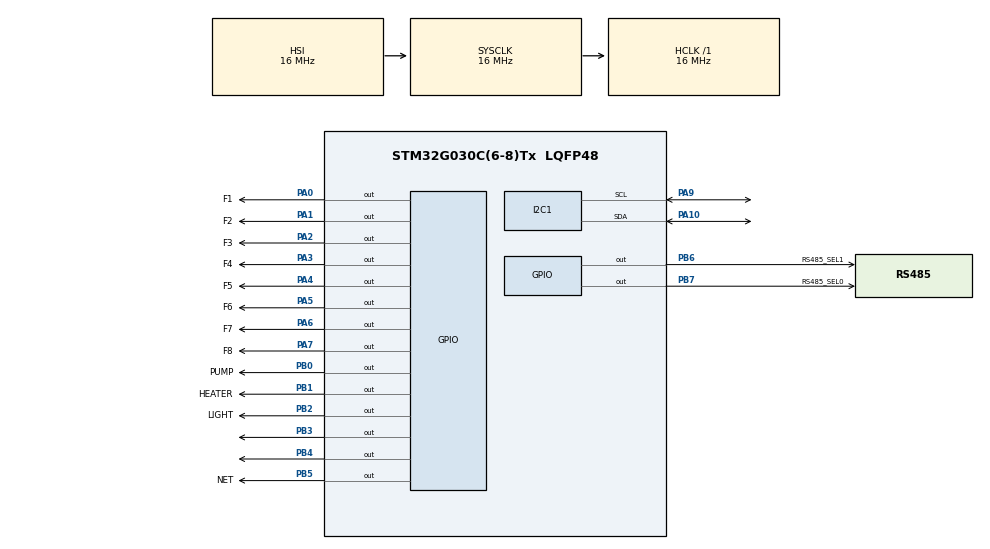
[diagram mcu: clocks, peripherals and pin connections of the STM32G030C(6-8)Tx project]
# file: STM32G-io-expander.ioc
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I2C1.OwnAddress=0x21
IWDG.Prescaler=IWDG_PRESCALER_8
IWDG.Reload=399
Mcu.Family=STM32G0
Mcu.Name=STM32G030C(6-8)Tx
Mcu.Package=LQFP48
NVIC.I2C1_IRQn=true\:0\:0\:false\:true\:true\:1\:true\:true\:true
PA0.GPIO_Label=F1
PA0.Signal=GPIO_Output
PA1.GPIO_Label=F2
PA1.Signal=GPIO_Output
PA10.Mode=I2C
PA10.Signal=I2C1_SDA
PA2.GPIO_Label=F3
PA2.Signal=GPIO_Output
PA3.GPIO_Label=F4
PA3.Signal=GPIO_Output
PA4.GPIO_Label=F5
PA4.Signal=GPIO_Output
PA5.GPIO_Label=F6
PA5.Signal=GPIO_Output
PA6.GPIO_Label=F7
PA6.Signal=GPIO_Output
PA7.GPIO_Label=F8
PA7.Signal=GPIO_Output
PA9.Mode=I2C
PA9.Signal=I2C1_SCL
PB0.GPIO_Label=PUMP
PB0.Signal=GPIO_Output
PB1.GPIO_Label=HEATER
PB1.Signal=GPIO_Output
PB2.GPIO_Label=LIGHT
PB2.Signal=GPIO_Output
PB3.Signal=GPIO_Output
PB4.Signal=GPIO_Output
PB5.GPIO_Label=NET
PB5.Signal=GPIO_Output
PB6.GPIO_Label=RS485_SEL1
PB6.Signal=GPIO_Output
PB7.GPIO_Label=RS485_SEL0
PB7.Signal=GPIO_Output
ProjectManager.HeapSize=0x200
ProjectManager.StackSize=0x400
ProjectManager.TargetToolchain=STM32CubeIDE
RCC.AHBFreq_Value=16000000
RCC.CortexFreq_Value=16000000
RCC.EXTERNAL_CLOCK_VALUE=12288000
RCC.HCLKFreq_Value=16000000
RCC.HSE_VALUE=8000000
RCC.HSI_VALUE=16000000
RCC.LSE_VALUE=32768
RCC.SYSCLKFreq_VALUE=16000000
RCC.VCOOutputFreq_Value=128000000
VP_IWDG_VS_IWDG.Mode=IWDG_Activate
board=custom

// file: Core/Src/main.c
/* USER CODE BEGIN Header */
/**
  ******************************************************************************
  * @file           : main.c
  * @brief          : Main program body
  ******************************************************************************
  * @attention
  *
  * Copyright (c) 2022 STMicroelectronics.
  * All rights reserved.
  *
  * This software is licensed under terms that can be found in the LICENSE file
  * in the root directory of this software component.
  * If no LICENSE file comes with this software, it is provided AS-IS.
  *
  ******************************************************************************
  */
/* USER CODE END Header */
#include "main.h"

/* USER CODE BEGIN Includes */
#include<stdbool.h>
/* USER CODE END Includes */

I2C_HandleTypeDef hi2c1;

IWDG_HandleTypeDef hiwdg;

void SystemClock_Config(void);
static void MX_GPIO_Init(void);
static void MX_I2C1_Init(void);
static void MX_IWDG_Init(void);
static void MX_NVIC_Init(void);

/* USER CODE BEGIN 0 */
uint8_t reg_offset = 0;
volatile uint8_t reg_data[8] = {
    0x00, // Input port 0
    0x00, // Input port 1
    0b00000000, // Output port 0, ON F2, F4, F6, F8 by default
    0x00, // Output port 1
    0x00, // Polarity Inversion port 0
    0x00, // Polarity Inversion port 1
    0x00, // Configuration port 0
    0x00  // Configuration port 1
};
uint8_t i2c_state = 0;
uint32_t last_i2c_req_time = 0;

HAL_StatusTypeDef I2C_Slave_isr(struct __I2C_HandleTypeDef *hi2c, uint32_t ITFlags, uint32_t ITSources) {
  if (hi2c->Instance->ISR & (I2C_ISR_ADDR)) {
    /* Clear ADDR flag */
    __HAL_I2C_CLEAR_FLAG(hi2c, I2C_FLAG_ADDR);

    last_i2c_req_time = HAL_GetTick();
  }

  if (hi2c->Instance->ISR & (I2C_ISR_RXNE)) {
    uint8_t data = hi2c->Instance->RXDR;
    if (i2c_state == 0) {
      reg_offset = data;
      i2c_state = 1;
    } else {
      reg_data[reg_offset++] = hi2c->Instance->RXDR;
    }
  }

  if (hi2c->Instance->ISR & (I2C_ISR_TXIS)) {
    hi2c->Instance->TXDR = reg_data[reg_offset++];
  }

  if (reg_offset >= sizeof(reg_data)) {
    reg_offset = 0;
  }

  // ---------
  GPIOA->ODR = (GPIOA->ODR & 0xFF00) | reg_data[2];
  GPIOB->ODR = (GPIOB->ODR & 0xFF00) | reg_data[3];
  // ---------

  if (hi2c->Instance->ISR & (I2C_ISR_STOPF)) {
    __HAL_I2C_CLEAR_FLAG(hi2c, I2C_FLAG_STOPF);

    /* Clear ADDR flag */
    __HAL_I2C_CLEAR_FLAG(hi2c, I2C_FLAG_ADDR);

    // flush the transmit data register I2C_TXDR
    __HAL_I2C_CLEAR_FLAG(hi2c, I2C_FLAG_TXE);

    i2c_state = 0;
  }

  return HAL_OK;
}

static void I2C_Slave_init() {
  // ====|| I2C Slave setup with interrupt ||====

  /* Enable Address Acknowledge */
  hi2c1.Instance->CR2 &= ~I2C_CR2_NACK;

  // Set isr function
  hi2c1.XferISR = I2C_Slave_isr;

  // Enable I2C interrup
  __HAL_I2C_ENABLE_IT(&hi2c1, I2C_IT_ADDRI | I2C_IT_STOPI | I2C_IT_TXI | I2C_IT_RXI);

  // ====|| END ||====

  i2c_state = 0;
}

bool i2c_error_detect = false;

void HAL_I2C_ErrorCallback(I2C_HandleTypeDef *hi2c) {
  i2c_error_detect = true;
}
/* USER CODE END 0 */

int main(void)
{

  /* MCU Configuration--------------------------------------------------------*/

  /* Reset of all peripherals, Initializes the Flash interface and the Systick. */
  HAL_Init();

  /* Configure the system clock */
  SystemClock_Config();

  /* Initialize all configured peripherals */
  MX_GPIO_Init();
  MX_I2C1_Init();
  MX_IWDG_Init();

  /* Initialize interrupts */
  MX_NVIC_Init();
  /* USER CODE BEGIN 2 */
  I2C_Slave_init();
  /* USER CODE END 2 */

  /* Infinite loop */
  /* USER CODE BEGIN WHILE */
  while (1)
  {
    /*
    if ((HAL_GetTick() > last_i2c_req_time) && ((HAL_GetTick() - last_i2c_req_time) > (30 * 1000))) { // Host not send over 30 s
      // so host down ?
      reg_data[2] = 0b00000000; // Output port 0, ON F2, F4, F6, F8 by default
      reg_data[3] = 0b00000000; // Output port 1, OFF All
    }*/
    GPIOA->ODR = (GPIOA->ODR & 0xFF00) | reg_data[2];
    GPIOB->ODR = (GPIOB->ODR & 0xFF00) | reg_data[3];
    if (i2c_error_detect) {
      i2c_error_detect = false;

      HAL_I2C_DeInit(&hi2c1);

      // Init again
      MX_I2C1_Init();
      I2C_Slave_init();
    }
    HAL_IWDG_Refresh(&hiwdg);
    HAL_Delay(50);
    /* USER CODE END WHILE */

  }
}

void SystemClock_Config(void)
{
  RCC_OscInitTypeDef RCC_OscInitStruct = {0};
  RCC_ClkInitTypeDef RCC_ClkInitStruct = {0};

  /** Configure the main internal regulator output voltage
  */
  HAL_PWREx_ControlVoltageScaling(PWR_REGULATOR_VOLTAGE_SCALE1);

  /** Initializes the RCC Oscillators according to the specified parameters
  * in the RCC_OscInitTypeDef structure.
  */
  RCC_OscInitStruct.OscillatorType = RCC_OSCILLATORTYPE_HSI|RCC_OSCILLATORTYPE_LSI;
  RCC_OscInitStruct.HSIState = RCC_HSI_ON;
  RCC_OscInitStruct.HSIDiv = RCC_HSI_DIV1;
  RCC_OscInitStruct.HSICalibrationValue = RCC_HSICALIBRATION_DEFAULT;
  RCC_OscInitStruct.LSIState = RCC_LSI_ON;
  RCC_OscInitStruct.PLL.PLLState = RCC_PLL_NONE;
  if (HAL_RCC_OscConfig(&RCC_OscInitStruct) != HAL_OK)
  {
    Error_Handler();
  }

  /** Initializes the CPU, AHB and APB buses clocks
  */
  RCC_ClkInitStruct.ClockType = RCC_CLOCKTYPE_HCLK|RCC_CLOCKTYPE_SYSCLK
                              |RCC_CLOCKTYPE_PCLK1;
  RCC_ClkInitStruct.SYSCLKSource = RCC_SYSCLKSOURCE_HSI;
  RCC_ClkInitStruct.AHBCLKDivider = RCC_SYSCLK_DIV1;
  RCC_ClkInitStruct.APB1CLKDivider = RCC_HCLK_DIV1;

  if (HAL_RCC_ClockConfig(&RCC_ClkInitStruct, FLASH_LATENCY_0) != HAL_OK)
  {
    Error_Handler();
  }
}

/**
  * @brief NVIC Configuration.
  * @retval None
  */
static void MX_NVIC_Init(void)
{
  /* I2C1_IRQn interrupt configuration */
  HAL_NVIC_SetPriority(I2C1_IRQn, 0, 0);
  HAL_NVIC_EnableIRQ(I2C1_IRQn);
}

static void MX_I2C1_Init(void)
{

  hi2c1.Instance = I2C1;
  hi2c1.Init.Timing = 0x00303D5B;
  hi2c1.Init.OwnAddress1 = 66;
  hi2c1.Init.AddressingMode = I2C_ADDRESSINGMODE_7BIT;
  hi2c1.Init.DualAddressMode = I2C_DUALADDRESS_DISABLE;
  hi2c1.Init.OwnAddress2 = 0;
  hi2c1.Init.OwnAddress2Masks = I2C_OA2_NOMASK;
  hi2c1.Init.GeneralCallMode = I2C_GENERALCALL_DISABLE;
  hi2c1.Init.NoStretchMode = I2C_NOSTRETCH_DISABLE;
  if (HAL_I2C_Init(&hi2c1) != HAL_OK)
  {
    Error_Handler();
  }

  /** Configure Analogue filter
  */
  if (HAL_I2CEx_ConfigAnalogFilter(&hi2c1, I2C_ANALOGFILTER_ENABLE) != HAL_OK)
  {
    Error_Handler();
  }

  /** Configure Digital filter
  */
  if (HAL_I2CEx_ConfigDigitalFilter(&hi2c1, 0) != HAL_OK)
  {
    Error_Handler();
  }

}

static void MX_IWDG_Init(void)
{

  hiwdg.Instance = IWDG;
  hiwdg.Init.Prescaler = IWDG_PRESCALER_8;
  hiwdg.Init.Window = 4095;
  hiwdg.Init.Reload = 399;
  if (HAL_IWDG_Init(&hiwdg) != HAL_OK)
  {
    Error_Handler();
  }

}

static void MX_GPIO_Init(void)
{
  GPIO_InitTypeDef GPIO_InitStruct = {0};

  /* GPIO Ports Clock Enable */
  __HAL_RCC_GPIOA_CLK_ENABLE();
  __HAL_RCC_GPIOB_CLK_ENABLE();

  /*Configure GPIO pin Output Level */
  HAL_GPIO_WritePin(GPIOA, F1_Pin|F2_Pin|F3_Pin|F4_Pin
                          |F5_Pin|F6_Pin|F7_Pin|F8_Pin, GPIO_PIN_RESET);

  /*Configure GPIO pin Output Level */
  HAL_GPIO_WritePin(GPIOB, PUMP_Pin|HEATER_Pin|LIGHT_Pin|GPIO_PIN_3
                          |GPIO_PIN_4|NET_Pin|RS485_SEL1_Pin|RS485_SEL0_Pin, GPIO_PIN_RESET);

  /*Configure GPIO pins : F1_Pin F2_Pin F3_Pin F4_Pin
                           F5_Pin F6_Pin F7_Pin F8_Pin */
  GPIO_InitStruct.Pin = F1_Pin|F2_Pin|F3_Pin|F4_Pin
                          |F5_Pin|F6_Pin|F7_Pin|F8_Pin;
  GPIO_InitStruct.Mode = GPIO_MODE_OUTPUT_PP;
  GPIO_InitStruct.Pull = GPIO_NOPULL;
  GPIO_InitStruct.Speed = GPIO_SPEED_FREQ_LOW;
  HAL_GPIO_Init(GPIOA, &GPIO_InitStruct);

  /*Configure GPIO pins : PUMP_Pin HEATER_Pin LIGHT_Pin PB3
                           PB4 NET_Pin RS485_SEL1_Pin RS485_SEL0_Pin */
  GPIO_InitStruct.Pin = PUMP_Pin|HEATER_Pin|LIGHT_Pin|GPIO_PIN_3
                          |GPIO_PIN_4|NET_Pin|RS485_SEL1_Pin|RS485_SEL0_Pin;
  GPIO_InitStruct.Mode = GPIO_MODE_OUTPUT_PP;
  GPIO_InitStruct.Pull = GPIO_NOPULL;
  GPIO_InitStruct.Speed = GPIO_SPEED_FREQ_LOW;
  HAL_GPIO_Init(GPIOB, &GPIO_InitStruct);

}

void Error_Handler(void)
{
  __disable_irq();
  while (1)
  {
  }
}
